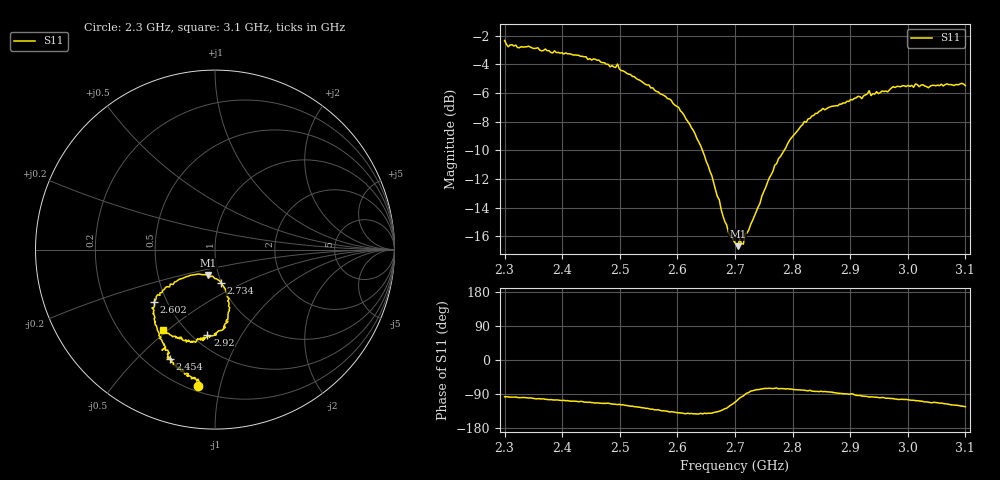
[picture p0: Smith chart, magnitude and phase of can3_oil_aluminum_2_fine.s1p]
# MHz S MA R 50
!  freq  S11
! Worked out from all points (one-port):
!   250 points, 2.3 GHz to 3.1 GHz, reference 50 ohm
!   lowest |S11| = -16.7 dB at 2.705 GHz (marker M1), VSWR 1.34, Z = 44.6 - j12.9 ohm
!   |S11| at or under -10 dB: 2.643 GHz to 2.786 GHz (142.2 MHz wide, 5.24 % of centre)
!   S11 on the Smith chart (normalised r, x): 2.3 GHz: 0.23, -0.86; 2.454 GHz: 0.29, -0.63; 2.602 GHz: 0.43, -0.31; 2.734 GHz: 1.00, -0.38; 2.92 GHz: 0.59, -0.73; 3.1 GHz: 0.38, -0.48
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2300  0.7654 -97.1
2306.426  0.7276 -97.5
2341.767  0.731 -100.4
2402.811  0.6862 -106.3
2454.217  0.6594 -112.6
2479.92  0.6318 -113.8
2495.984  0.6333 -117.8
2502.41  0.6013 -118.5
2560.241  0.5135 -131.3
2602.008  0.4475 -139.3
2640.562  0.3275 -140.6
2688.755  0.163 -123.5
2701.606  0.1488 -109.5
2704.819  0.1462 -105.1
2708.032  0.1547 -100.5
2714.458  0.1486 -94.9
2717.671  0.1615 -90.4
2733.735  0.1866 -79.9
2769.076  0.2806 -74.6
2801.205  0.3557 -77.9
2852.61  0.443 -83.6
2900.803  0.4759 -89.6
2920.08  0.4795 -95.0
2932.932  0.5108 -97.5
2936.145  0.4911 -97.1
3000.402  0.5335 -104.9
3058.233  0.5384 -113.8
3100  0.5324 -123.2
